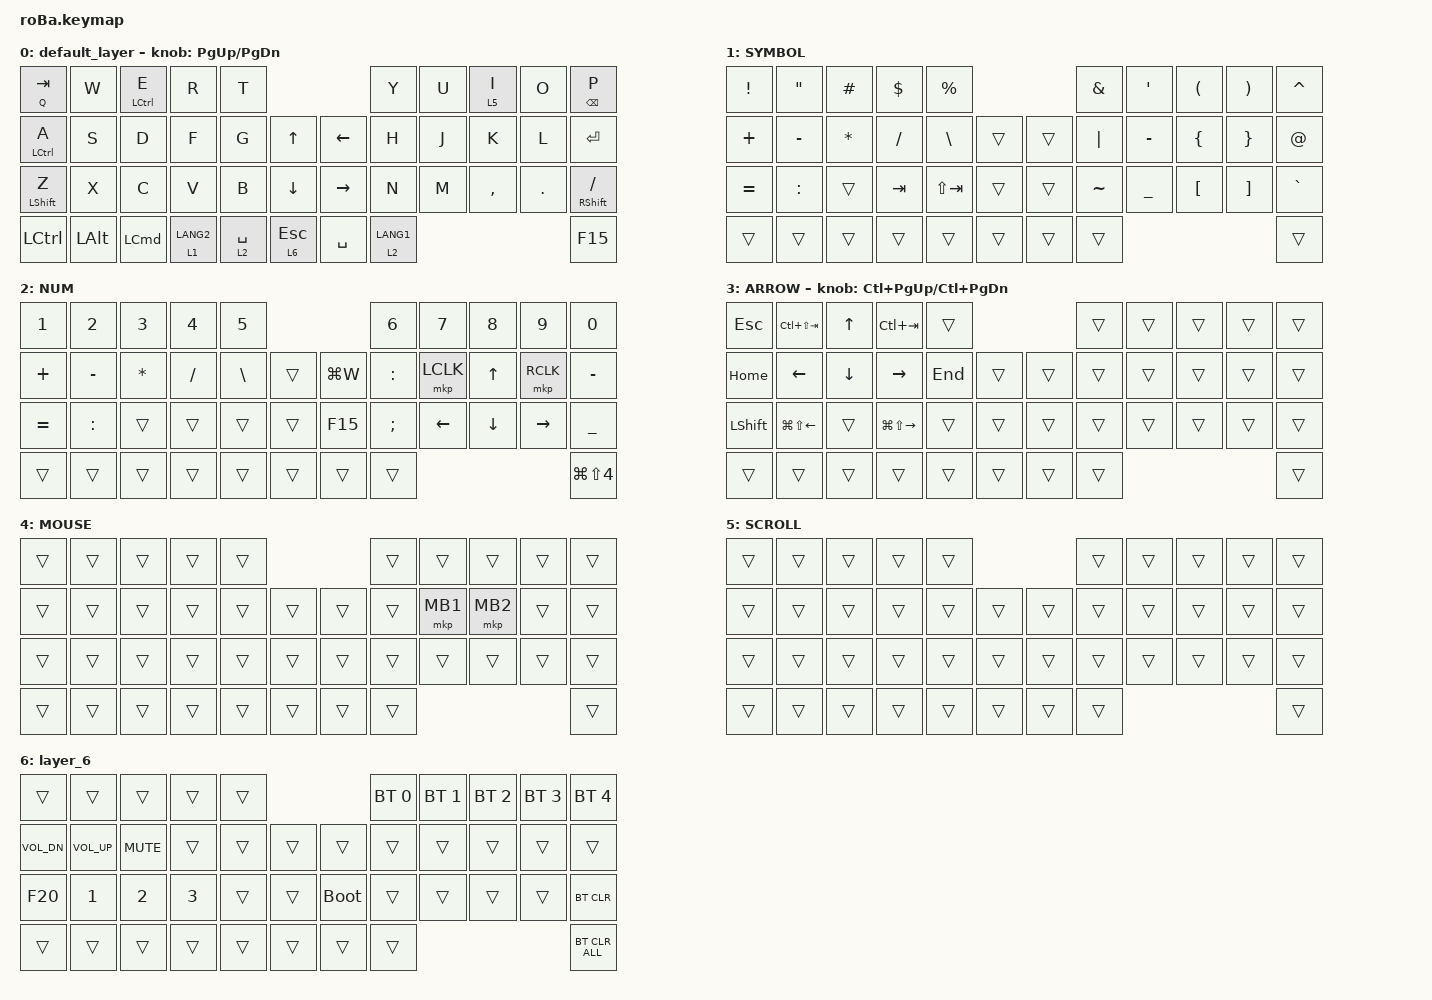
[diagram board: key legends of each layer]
#include <behaviors.dtsi>
#include <dt-bindings/zmk/bt.h>
#include <dt-bindings/zmk/keys.h>
#include <dt-bindings/zmk/pointing.h>

&mt {
    flavor = "balanced";
    quick-tap-ms = <0>;
    tapping-term-ms = <300>;
};

&lt { tapping-term-ms = <250>; };

&trackball {
    // automouse-layer = <4>;

    scroll-layers = <5>;

    // arrows {
    //     layers = <3>;
    //     bindings =
    //         <&kp RIGHT_ARROW>,
    //         <&kp LEFT_ARROW>,
    //         <&kp UP_ARROW>,
    //         <&kp DOWN_ARROW>;
    //     tick = <10>;
    //     wait-ms = <5>;
    //     tap-ms = <5>;
    // };
};

/ {
    combos {
        compatible = "zmk,combos";

        mb1 {
            bindings = <&mkp MB1>;
            key-positions = <18 19>;
        };

        mb2 {
            bindings = <&mkp MB2>;
            key-positions = <19 20>;
        };
    };

    macros {
        to_layer_0: to_layer_0 {
            compatible = "zmk,behavior-macro-one-param";
            #binding-cells = <1>;
            bindings = <&to 0 &macro_param_1to1 &kp MACRO_PLACEHOLDER>;
            label = "TO_LAYER_0";
        };
    };

    behaviors {
        lt_to_layer_0: lt_to_layer_0 {
            compatible = "zmk,behavior-hold-tap";
            label = "LAYER_TAP_TO_0";
            bindings = <&mo>, <&to_layer_0>;

            #binding-cells = <2>;
            tapping-term-ms = <200>;
        };
    };

    keymap {
        compatible = "zmk,keymap";

        default_layer {
            bindings = <
&mt Q TAB         &kp W         &mt LCTRL E  &kp R        &kp T                                             &kp Y        &kp U  &lt 5 I    &kp O    &mt BACKSPACE P
&mt LCTRL A       &kp S         &kp D        &kp F        &kp G        &kp UP_ARROW        &kp LEFT_ARROW   &kp H        &kp J  &kp K      &kp L    &kp ENTER
&mt LEFT_SHIFT Z  &kp X         &kp C        &kp V        &kp B        &kp DOWN_ARROW      &kp RIGHT_ARROW  &kp N        &kp M  &kp COMMA  &kp DOT  &mt RSHIFT SLASH
&kp LCTRL         &kp LEFT_ALT  &kp LCMD     &lt 1 LANG2  &lt 2 SPACE  &lt 6 ESCAPE        &kp SPACE        &lt 2 LANG1                             &kp F15
            >;

            sensor-bindings = <&inc_dec_kp PG_UP PAGE_DOWN>;
        };

        SYMBOL {
            bindings = <
&kp EXCLAMATION  &kp DOUBLE_QUOTES  &kp POUND     &kp DOLLAR  &kp PERCENT                        &kp AMPERSAND  &kp SINGLE_QUOTE  &kp LEFT_PARENTHESIS  &kp RIGHT_PARENTHESIS  &kp CARET
&kp PLUS         &kp MINUS          &kp ASTERISK  &kp SLASH   &kp BACKSLASH  &trans      &trans  &kp PIPE       &kp MINUS         &kp LEFT_BRACE        &kp RIGHT_BRACE        &kp AT_SIGN
&kp EQUAL        &kp COLON          &trans        &kp TAB     &kp LS(TAB)    &trans      &trans  &kp TILDE      &kp UNDERSCORE    &kp LEFT_BRACKET      &kp RIGHT_BRACKET      &kp GRAVE
&trans           &trans             &trans        &trans      &trans         &trans      &trans  &trans                                                                        &trans
            >;
        };

        NUM {
            bindings = <
&kp NUMBER_1  &kp NUMBER_2  &kp NUMBER_3  &kp NUMBER_4  &kp NUMBER_5                          &kp NUMBER_6   &kp NUMBER_7    &kp NUMBER_8    &kp NUMBER_9     &kp NUMBER_0
&kp PLUS      &kp MINUS     &kp ASTRK     &kp SLASH     &kp BACKSLASH  &trans      &kp LG(W)  &kp COLON      &mkp LCLK       &kp UP_ARROW    &mkp RCLK        &kp MINUS
&kp EQUAL     &kp COLON     &trans        &trans        &trans         &trans      &kp F15    &kp SEMICOLON  &kp LEFT_ARROW  &kp DOWN_ARROW  &kp RIGHT_ARROW  &kp UNDERSCORE
&trans        &trans        &trans        &trans        &trans         &trans      &trans     &trans                                                          &kp LG(LS(NUMBER_4))
            >;
        };

        ARROW {
            bindings = <
&kp ESCAPE      &kp LC(LS(TAB))         &kp UP_ARROW    &kp LC(TAB)              &trans                       &trans  &trans  &trans  &trans  &trans
&kp HOME        &kp LEFT_ARROW          &kp DOWN_ARROW  &kp RIGHT_ARROW          &kp END  &trans      &trans  &trans  &trans  &trans  &trans  &trans
&kp LEFT_SHIFT  &kp LG(LS(LEFT_ARROW))  &trans          &kp LG(LS(RIGHT_ARROW))  &trans   &trans      &trans  &trans  &trans  &trans  &trans  &trans
&trans          &trans                  &trans          &trans                   &trans   &trans      &trans  &trans                          &trans
            >;

            sensor-bindings = <&inc_dec_kp LC(PAGE_UP) LC(PAGE_DOWN)>;
        };

        MOUSE {
            bindings = <
&trans  &trans  &trans  &trans  &trans                      &trans  &trans    &trans    &trans  &trans
&trans  &trans  &trans  &trans  &trans  &trans      &trans  &trans  &mkp MB1  &mkp MB2  &trans  &trans
&trans  &trans  &trans  &trans  &trans  &trans      &trans  &trans  &trans    &trans    &trans  &trans
&trans  &trans  &trans  &trans  &trans  &trans      &trans  &trans                              &trans
            >;
        };

        SCROLL {
            bindings = <
&trans  &trans  &trans  &trans  &trans                      &trans  &trans  &trans  &trans  &trans
&trans  &trans  &trans  &trans  &trans  &trans      &trans  &trans  &trans  &trans  &trans  &trans
&trans  &trans  &trans  &trans  &trans  &trans      &trans  &trans  &trans  &trans  &trans  &trans
&trans  &trans  &trans  &trans  &trans  &trans      &trans  &trans                          &trans
            >;
        };

        layer_6 {
            bindings = <
&trans        &trans           &trans        &trans        &trans                           &bt BT_SEL 0  &bt BT_SEL 1  &bt BT_SEL 2  &bt BT_SEL 3  &bt BT_SEL 4
&kp C_VOL_DN  &kp C_VOLUME_UP  &kp K_MUTE    &trans        &trans  &trans      &trans       &trans        &trans        &trans        &trans        &trans
&kp F20       &kp NUMBER_1     &kp NUMBER_2  &kp NUMBER_3  &trans  &trans      &bootloader  &trans        &trans        &trans        &trans        &bt BT_CLR
&trans        &trans           &trans        &trans        &trans  &trans      &trans       &trans                                                  &bt BT_CLR_ALL
            >;
        };
    };
};
